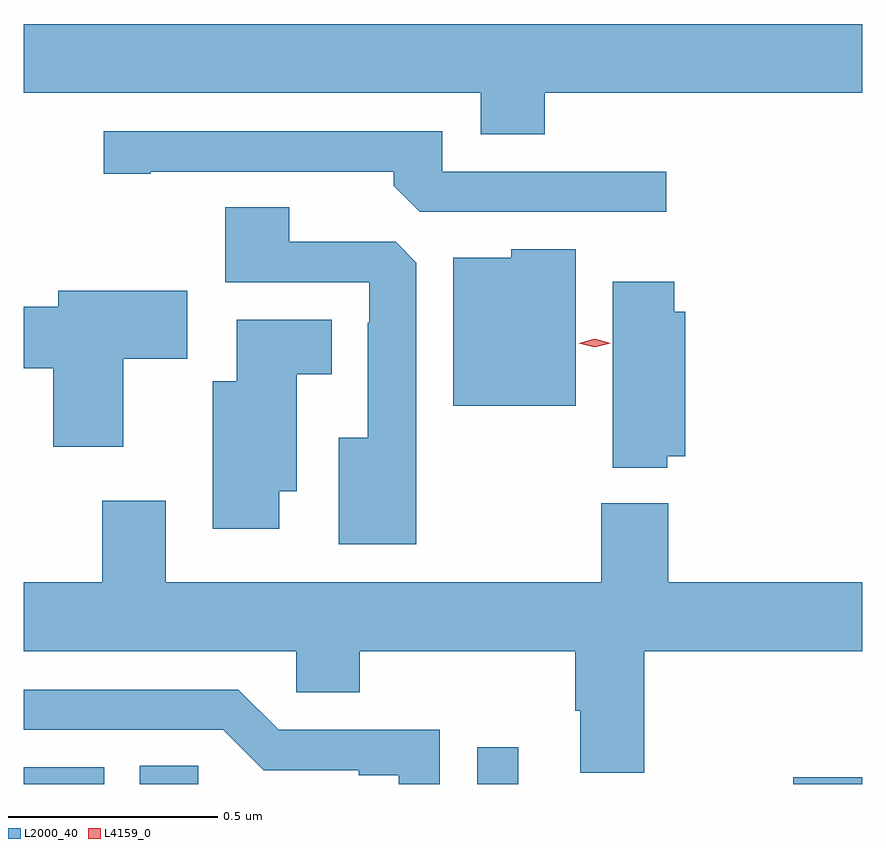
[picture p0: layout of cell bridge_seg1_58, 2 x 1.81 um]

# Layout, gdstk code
import gdstk
lib = gdstk.Library(unit=1e-6, precision=1e-09)
def R(c, l, rs):  # rectangles x0, y0, x1, y1
    for r in rs: c.add(gdstk.rectangle(r[:2], r[2:], *l))
def P(c, l, *ps):  # polygons
    for p in ps: c.add(gdstk.Polygon(p, *l))
L2000_40 = (2000, 40)
L4159_0 = (4159, 0)

bridge_seg1_58 = lib.new_cell('bridge_seg1_58')
R(bridge_seg1_58, L2000_40, [(426.349,543.423,426.541,543.463), (426.626,543.423,426.765,543.467), (427.431,543.423,427.528,543.511), (428.185,543.423,428.349,543.439)])
P(bridge_seg1_58, L2000_40, [(427.592,545.072),(428.349,545.072),(428.349,545.236),(426.349,545.236),(426.349,545.072),(427.439,545.072),(427.439,544.973),(427.592,544.973)],
  [(427.882,544.884),(427.347,544.884),(427.347,544.98),(426.54,544.98),(426.54,544.879),(426.652,544.879),(426.652,544.884),(427.232,544.884),(427.232,544.85),(427.293,544.788),(427.882,544.788)],
  [(427.285,544.667),(427.236,544.716),(426.982,544.716),(426.982,544.799),(426.83,544.799),(426.83,544.62),(427.173,544.62),(427.173,544.523),(427.169,544.523),(427.169,544.249),(427.1,544.249),(427.1,543.995),(427.285,543.995)],
  [(427.666,544.699),(427.512,544.699),(427.512,544.678),(427.373,544.678),(427.373,544.325),(427.666,544.325)],
  [(427.884,544.205),(427.927,544.205),(427.927,544.549),(427.901,544.549),(427.901,544.621),(427.754,544.621),(427.754,544.178),(427.884,544.178)],
  [(426.586,544.438),(426.739,544.438),(426.739,544.6),(426.431,544.6),(426.431,544.562),(426.349,544.562),(426.349,544.415),(426.419,544.415),(426.419,544.227),(426.586,544.227)],
  [(426.958,544.121),(427,544.121),(427,544.4),(427.084,544.4),(427.084,544.531),(426.857,544.531),(426.857,544.384),(426.8,544.384),(426.8,544.032),(426.958,544.032)],
  [(427.829,543.74),(428.349,543.74),(428.349,543.904),(427.886,543.904),(427.886,544.093),(427.726,544.093),(427.726,543.904),(426.688,543.904),(426.688,544.099),(426.536,544.099),(426.536,543.904),(426.349,543.904),(426.349,543.74),(426.999,543.74),(426.999,543.642),(427.151,543.642),(427.151,543.74),(427.664,543.74),(427.664,543.598),(427.676,543.598),(427.676,543.45),(427.829,543.45)],
  [(427.341,543.552),(426.957,543.552),(426.861,543.648),(426.349,543.648),(426.349,543.552),(426.825,543.552),(426.921,543.456),(427.148,543.456),(427.148,543.444),(427.244,543.444),(427.244,543.423),(427.341,543.423)])
P(bridge_seg1_58, L4159_0, [(427.711,544.465),(427.673,544.474),(427.673,544.475),(427.673,544.475),(427.711,544.485),(427.749,544.475),(427.749,544.475),(427.749,544.474)])

lib.write_gds('bridge_seg1_58.gds')
